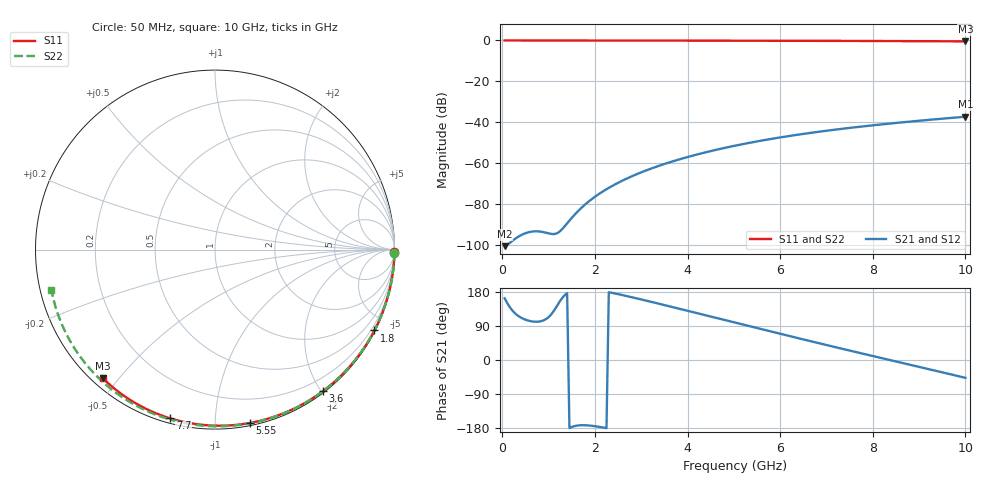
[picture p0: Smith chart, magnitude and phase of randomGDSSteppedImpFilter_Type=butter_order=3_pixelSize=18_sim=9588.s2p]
! freq	dB(S11)	phase(S11)	dB(S12)	phase(S12)
!  dB(S21)	phase(S21)	dB(S22)	phase(S22)
!S-par simulation data
#  GHz  S  DB  R 50
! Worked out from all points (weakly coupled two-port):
!   200 points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, 50 MHz to 10 GHz, reference 50 ohm
!   highest |S21| = -37.22 dB at 10 GHz (marker M1); lowest = -100.4 dB at 50 MHz (marker M2)
!   lowest |S11| = -0.4 dB at 10 GHz (marker M3), VSWR 39.45, Z = 1.53 - j22.7 ohm
!   |S11| at or under -10 dB: nowhere
!   |S22| runs from -0.6 to 0.0 dB; largest |S21 - S12| = 0
!   S11 on the Smith chart (normalised r, x): 50 MHz: open; 1.8 GHz: 0.04, -4.18; 3.6 GHz: 0.02, -2.02; 5.55 GHz: 0.02, -1.22; 7.7 GHz: 0.02, -0.77; 10 GHz: 0.03, -0.45
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0.05  -0.00 -0.8  -100.39 162.9  -100.39 162.9  -0.00 -1.0
0.45  -0.01 -6.8  -94.52 108.9  -94.52 108.9  -0.01 -8.7
0.85  -0.02 -12.8  -93.36 102.9  -93.36 102.9  -0.02 -16.3
1.3  -0.02 -19.5  -91.91 164.5  -91.91 164.5  -0.03 -24.8
1.75  -0.03 -26.2  -80.82 -172.1  -80.82 -172.1  -0.04 -33.2
1.8  -0.03 -26.9  -79.83 -172.3  -79.83 -172.3  -0.04 -34.1
1.95  -0.04 -29.1  -77.12 -173.9  -77.12 -173.9  -0.05 -36.8
2.1  -0.04 -31.3  -74.73 -176.5  -74.73 -176.5  -0.05 -39.6
2.3  -0.04 -34.2  -71.93 179.0  -71.93 179.0  -0.06 -43.2
2.5  -0.05 -37.0  -69.47 173.9  -69.47 173.9  -0.06 -46.9
2.9  -0.06 -42.8  -65.29 162.7  -65.29 162.7  -0.07 -54.0
3.4  -0.07 -49.8  -61.04 148.0  -61.04 148.0  -0.08 -62.8
3.6  -0.07 -52.6  -59.56 142.0  -59.56 142.0  -0.09 -66.2
4.3  -0.09 -62.1  -55.10 120.8  -55.10 120.8  -0.11 -78.1
5.05  -0.11 -72.1  -51.24 98.0  -51.24 98.0  -0.14 -90.4
5.55  -0.13 -78.5  -49.06 82.8  -49.06 82.8  -0.16 -98.3
6.1  -0.15 -85.5  -46.96 66.3  -46.96 66.3  -0.19 -106.9
6.7  -0.18 -92.9  -44.96 48.4  -44.96 48.4  -0.23 -116.1
7.7  -0.24 -104.9  -42.16 19.1  -42.16 19.1  -0.30 -131.2
8.35  -0.29 -112.5  -40.60 0.5  -40.60 0.5  -0.36 -140.9
9.2  -0.36 -122.2  -38.76 -23.8  -38.76 -23.8  -0.45 -153.8
10  -0.44 -131.2  -37.22 -47.2  -37.22 -47.2  -0.55 -166.1
